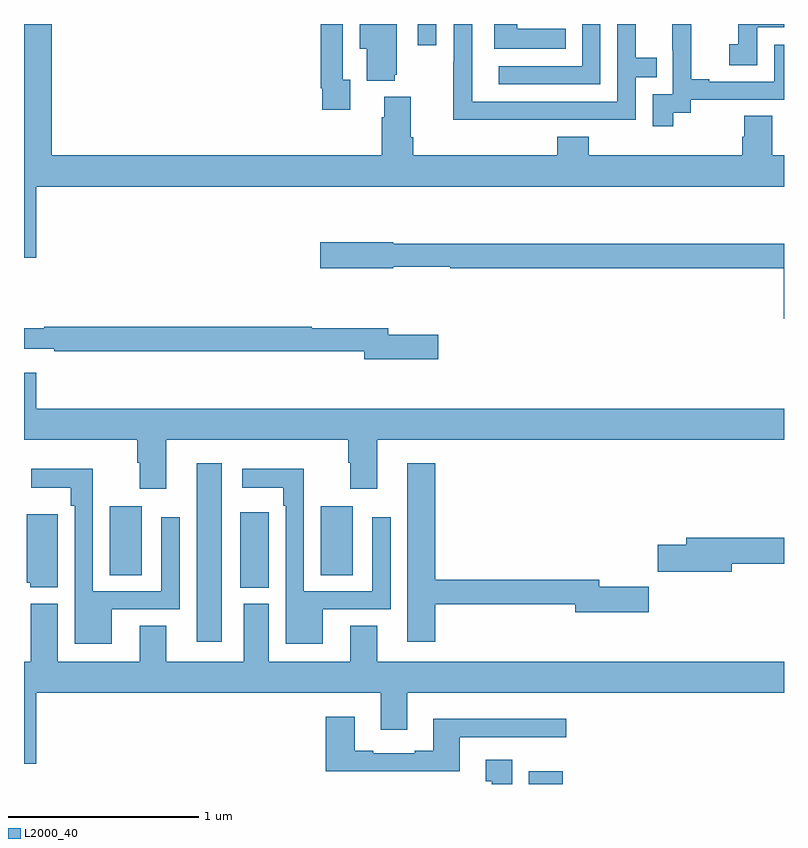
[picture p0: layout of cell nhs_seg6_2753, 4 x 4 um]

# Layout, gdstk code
import gdstk
lib = gdstk.Library(unit=1e-6, precision=1e-09)
def R(c, l, rs):  # rectangles x0, y0, x1, y1
    for r in rs: c.add(gdstk.rectangle(r[:2], r[2:], *l))
def P(c, l, *ps):  # polygons
    for p in ps: c.add(gdstk.Polygon(p, *l))
L2000_40 = (2000, 40)

nhs_seg6_2753 = lib.new_cell('nhs_seg6_2753')
R(nhs_seg6_2753, L2000_40, [(275.657,969.5,275.836,969.568), (273.908,970.248,274.042,971.188), (274.139,970.534,274.288,970.93), (273.452,970.6,273.619,970.963), (274.562,970.6,274.729,970.963), (275.073,973.389,275.169,973.5)])
P(nhs_seg6_2753, L2000_40, [(276.418,973.033),(276.51,973.033),(276.51,973.101),(277,973.101),(277,973.392),(276.948,973.392),(276.948,973.197),(276.607,973.197),(276.607,973.21),(276.512,973.21),(276.512,973.493),(276.513,973.493),(276.513,973.5),(276.413,973.5),(276.413,973.361),(276.414,973.361),(276.414,973.131),(276.309,973.131),(276.309,972.963),(276.418,972.963)],
  [(273.064,972.644),(277,972.644),(277,972.808),(276.939,972.808),(276.939,973.016),(276.791,973.016),(276.791,972.906),(276.779,972.906),(276.779,972.808),(275.972,972.808),(275.972,972.907),(275.807,972.907),(275.807,972.808),(275.048,972.808),(275.048,972.904),(275.035,972.904),(275.035,973.117),(274.895,973.117),(274.895,973.01),(274.883,973.01),(274.883,972.808),(273.146,972.808),(273.146,973.5),(273,973.5),(273,972.27),(273.064,972.27)],
  [(275.852,973.474),(275.595,973.474),(275.595,973.5),(275.474,973.5),(275.474,973.37),(275.852,973.37)],
  [(274.717,973.206),(274.677,973.206),(274.677,973.5),(274.561,973.5),(274.561,973.162),(274.569,973.162),(274.569,973.05),(274.717,973.05)],
  [(274.952,973.233),(274.963,973.233),(274.963,973.5),(274.766,973.5),(274.766,973.37),(274.805,973.37),(274.805,973.202),(274.952,973.202)],
  [(276.858,973.482),(277,973.482),(277,973.5),(276.76,973.5),(276.76,973.393),(276.711,973.393),(276.711,973.284),(276.858,973.284)],
  [(276.033,973.5),(275.937,973.5),(275.937,973.278),(275.499,973.278),(275.499,973.182),(276.033,973.182)],
  [(275.723,972.996),(276.219,972.996),(276.219,973.221),(276.329,973.221),(276.329,973.322),(276.219,973.322),(276.219,973.5),(276.123,973.5),(276.123,973.092),(275.358,973.092),(275.358,973.5),(275.262,973.5),(275.262,973.301),(275.26,973.301),(275.26,972.995),(275.723,972.995)],
  [(277,972.343),(274.944,972.343),(274.944,972.351),(274.56,972.351),(274.56,972.214),(274.944,972.214),(274.944,972.222),(275.244,972.222),(275.244,972.214),(276.998,972.214),(276.998,971.949),(277,971.949)],
  [(275.179,971.865),(274.918,971.865),(274.918,971.899),(274.514,971.899),(274.514,971.906),(273.106,971.906),(273.106,971.899),(273,971.899),(273,971.79),(273.16,971.79),(273.16,971.778),(274.79,971.778),(274.79,971.735),(275.179,971.735)],
  [(273.748,971.312),(274.706,971.312),(274.706,971.192),(274.718,971.192),(274.718,971.055),(274.858,971.055),(274.858,971.312),(277,971.312),(277,971.476),(273.064,971.476),(273.064,971.665),(273,971.665),(273,971.312),(273.596,971.312),(273.596,971.192),(273.608,971.192),(273.608,971.055),(273.748,971.055)],
  [(275.165,970.446),(275.9,970.446),(275.9,970.403),(276.289,970.403),(276.289,970.538),(276.028,970.538),(276.028,970.574),(275.165,970.574),(275.165,971.188),(275.018,971.188),(275.018,970.248),(275.165,970.248)],
  [(273.463,970.419),(273.819,970.419),(273.819,970.903),(273.723,970.903),(273.723,970.515),(273.363,970.515),(273.363,971.158),(273.039,971.158),(273.039,971.06),(273.247,971.06),(273.247,970.964),(273.267,970.964),(273.267,970.238),(273.463,970.238)],
  [(274.573,970.419),(274.929,970.419),(274.929,970.903),(274.833,970.903),(274.833,970.515),(274.473,970.515),(274.473,971.158),(274.149,971.158),(274.149,971.06),(274.365,971.06),(274.365,970.964),(274.377,970.964),(274.377,970.238),(274.573,970.238)],
  [(273.178,970.921),(273.014,970.921),(273.014,970.56),(273.033,970.56),(273.033,970.535),(273.178,970.535)],
  [(276.724,970.66),(277,970.66),(277,970.796),(276.485,970.796),(276.485,970.76),(276.336,970.76),(276.336,970.618),(276.724,970.618)],
  [(273.064,969.98),(274.877,969.98),(274.877,969.786),(275.017,969.786),(275.017,969.98),(277,969.98),(277,970.144),(274.858,970.144),(274.858,970.334),(274.718,970.334),(274.718,970.144),(274.288,970.144),(274.288,970.449),(274.157,970.449),(274.157,970.144),(273.748,970.144),(273.748,970.334),(273.608,970.334),(273.608,970.144),(273.178,970.144),(273.178,970.45),(273.035,970.45),(273.035,970.144),(273,970.144),(273,969.606),(273.064,969.606)],
  [(275.293,969.747),(275.854,969.747),(275.854,969.844),(275.153,969.844),(275.153,969.676),(275.057,969.676),(275.057,969.663),(274.837,969.663),(274.837,969.676),(274.741,969.676),(274.741,969.853),(274.589,969.853),(274.589,969.566),(275.293,969.566)],
  [(275.569,969.628),(275.429,969.628),(275.429,969.515),(275.462,969.515),(275.462,969.5),(275.569,969.5)])

lib.write_gds('nhs_seg6_2753.gds')
